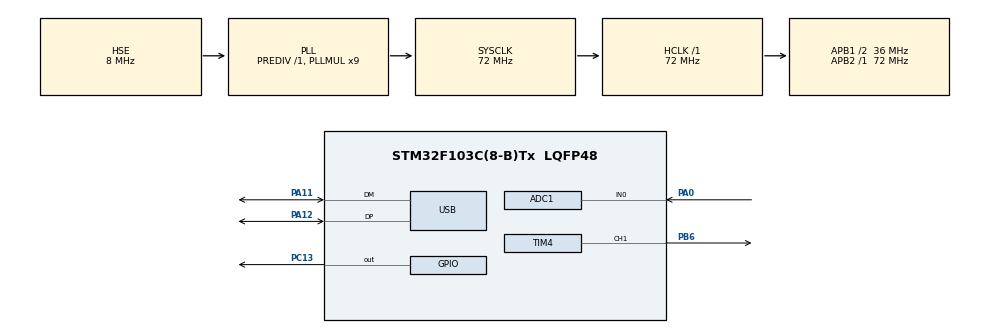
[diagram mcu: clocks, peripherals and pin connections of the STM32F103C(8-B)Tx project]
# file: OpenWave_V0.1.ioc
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ADC1.Channel-0\#ChannelRegularConversion=ADC_CHANNEL_0
ADC1.ContinuousConvMode=ENABLE
ADC1.NbrOfConversionFlag=1
ADC1.Rank-0\#ChannelRegularConversion=1
ADC1.SamplingTime-0\#ChannelRegularConversion=ADC_SAMPLETIME_1CYCLE_5
ADC1.master=1
Dma.ADC1.0.Direction=DMA_PERIPH_TO_MEMORY
Dma.ADC1.0.Instance=DMA1_Channel1
Dma.ADC1.0.MemDataAlignment=DMA_MDATAALIGN_HALFWORD
Dma.ADC1.0.MemInc=DMA_MINC_ENABLE
Dma.ADC1.0.Mode=DMA_NORMAL
Dma.ADC1.0.PeriphDataAlignment=DMA_PDATAALIGN_HALFWORD
Dma.ADC1.0.PeriphInc=DMA_PINC_DISABLE
Dma.ADC1.0.Priority=DMA_PRIORITY_VERY_HIGH
Dma.Request0=ADC1
Mcu.Family=STM32F1
Mcu.Name=STM32F103C(8-B)Tx
Mcu.Package=LQFP48
NVIC.DMA1_Channel1_IRQn=true\:0\:0\:false\:false\:true\:false\:true\:true
NVIC.PriorityGroup=NVIC_PRIORITYGROUP_4
NVIC.USB_LP_CAN1_RX0_IRQn=true\:1\:0\:true\:false\:true\:false\:true\:true
PA0-WKUP.Signal=ADCx_IN0
PA11.Mode=Device
PA11.Signal=USB_DM
PA12.Mode=Device
PA12.Signal=USB_DP
PA13.Mode=Serial_Wire
PA13.Signal=SYS_JTMS-SWDIO
PA14.Mode=Serial_Wire
PA14.Signal=SYS_JTCK-SWCLK
PB6.Signal=S_TIM4_CH1
PC13-TAMPER-RTC.PinState=GPIO_PIN_SET
PC13-TAMPER-RTC.Signal=GPIO_Output
PD0-OSC_IN.Mode=HSE-External-Oscillator
PD0-OSC_IN.Signal=RCC_OSC_IN
PD1-OSC_OUT.Mode=HSE-External-Oscillator
PD1-OSC_OUT.Signal=RCC_OSC_OUT
ProjectManager.HeapSize=0x200
ProjectManager.StackSize=0x400
ProjectManager.TargetToolchain=STM32CubeIDE
RCC.ADCPresc=RCC_ADCPCLK2_DIV6
RCC.AHBFreq_Value=72000000
RCC.APB1CLKDivider=RCC_HCLK_DIV2
RCC.APB1Freq_Value=36000000
RCC.APB1TimFreq_Value=72000000
RCC.APB2Freq_Value=72000000
RCC.APB2TimFreq_Value=72000000
RCC.HCLKFreq_Value=72000000
RCC.PLLMUL=RCC_PLL_MUL9
RCC.SYSCLKFreq_VALUE=72000000
RCC.SYSCLKSource=RCC_SYSCLKSOURCE_PLLCLK
RCC.USBFreq_Value=48000000
RCC.USBPrescaler=RCC_USBCLKSOURCE_PLL_DIV1_5
SH.ADCx_IN0.0=ADC1_IN0,IN0
SH.S_TIM4_CH1.0=TIM4_CH1,PWM Generation1 CH1
TIM4.Channel-PWM\ Generation1\ CH1=TIM_CHANNEL_1
TIM4.Period=256-1
TIM4.Prescaler=281-1
TIM4.Pulse-PWM\ Generation1\ CH1=128
USB_DEVICE.APP_RX_DATA_SIZE=64
USB_DEVICE.CLASS_NAME_FS=CDC
USB_DEVICE.MANUFACTURER_STRING=SpaceMonochrome
USB_DEVICE.PID_CDC_FS=1984
USB_DEVICE.PRODUCT_STRING_CDC_FS=OpenWaveV0.1
USB_DEVICE.VID=47891
USB_DEVICE.VirtualMode=Cdc
USB_DEVICE.VirtualModeFS=Cdc_FS
VP_TIM4_VS_ClockSourceINT.Mode=Internal
VP_USB_DEVICE_VS_USB_DEVICE_CDC_FS.Mode=CDC_FS
board=custom

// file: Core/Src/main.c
/* USER CODE BEGIN Header */
/**
  ******************************************************************************
  * @file           : main.c
  * @brief          : Main program body
  ******************************************************************************
  * @attention
  *
  * Copyright (c) 2025 STMicroelectronics.
  * All rights reserved.
  *
  * This software is licensed under terms that can be found in the LICENSE file
  * in the root directory of this software component.
  * If no LICENSE file comes with this software, it is provided AS-IS.
  *
  ******************************************************************************
  */
/* USER CODE END Header */
#include "main.h"
#include "usb_device.h"

/* USER CODE BEGIN Includes */
#include "usbd_cdc_if.h"
#include "stdint.h"
/* USER CODE END Includes */

ADC_HandleTypeDef hadc1;
DMA_HandleTypeDef hdma_adc1;

TIM_HandleTypeDef htim4;

void SystemClock_Config(void);
static void MX_GPIO_Init(void);
static void MX_DMA_Init(void);
static void MX_ADC1_Init(void);
static void MX_TIM4_Init(void);

/* USER CODE BEGIN 0 */

extern USBD_HandleTypeDef hUsbDeviceFS;

#define SAMPLE_BLOCK   1024        // toplam buffer boyutu (örnek sayısı değil!)
#define TOTAL_BLOCKS   5
#define CHUNK_SAMPLES  512         // her chunk 512 örnek (uint16_t)
#define CHUNK_BYTES    (CHUNK_SAMPLES * sizeof(uint16_t))  // = 1024 byte
#define NUM_CHUNKS    ((SAMPLE_BLOCK * TOTAL_BLOCKS) / CHUNK_SAMPLES) // 10

volatile uint8_t adc_flag = 0;
volatile uint8_t usb_write = 0;

__attribute__((section(".adc_buffer"))) __attribute__((used)) uint16_t adc_buffer[SAMPLE_BLOCK * TOTAL_BLOCKS];
__attribute__((section(".adc_buffer"))) __attribute__((used)) uint8_t buffer[CHUNK_BYTES];
__attribute__((section(".adc_buffer"))) __attribute__((used)) uint32_t start_time, elapsed_time;

void send_adc_data(void)
{
    if (hUsbDeviceFS.dev_state == USBD_STATE_CONFIGURED)
    {
        for (int chunk = 0; chunk < NUM_CHUNKS; chunk++)
        {
            /* 512 örnek = 1024 byte kopyala */
            //memcpy(buffer, &adc_buffer[chunk * CHUNK_SAMPLES], CHUNK_BYTES);
        	while (CDC_Transmit_FS((uint8_t*)&adc_buffer[chunk * CHUNK_SAMPLES], CHUNK_BYTES) == USBD_BUSY)
        	{

        	}

            /*
            //1024 byte gönder
            while (CDC_Transmit_FS(buffer, CHUNK_BYTES) == USBD_BUSY)
            {

            }
            */
        }
    }
}

void HAL_ADC_ConvCpltCallback(ADC_HandleTypeDef *hadc)
{
	adc_flag = 1;
}

void My_USB_RxHandler(uint8_t *data, uint32_t len)
{
    if(len > 0)
    {
    	if (strcmp((char*)data, "Start") == 0)
        {
    		usb_write = 1;
        }
    	else if (strcmp((char*)data, "Stop!") == 0)
        {
    		usb_write = 0;
        	CDC_Transmit_FS((uint8_t*)"Durdu", 6);
        }
    }
}

void DWT_Init(void)
{
    CoreDebug->DEMCR |= CoreDebug_DEMCR_TRCENA_Msk;
    DWT->CYCCNT = 0;
    DWT->CTRL |= DWT_CTRL_CYCCNTENA_Msk;
}

uint32_t DWT_GetMicros(void)
{
    return (DWT->CYCCNT / (SystemCoreClock / 1000000));
}

uint32_t DWT_GetDeltaMicros(uint32_t start_time)
{
    uint32_t current_time = DWT_GetMicros();
    if(current_time >= start_time)
    {
    	return (current_time - start_time);
    }
    else
    {
    	return (0xFFFFFFFF - start_time + current_time + 1);
    }
}

/* USER CODE END 0 */

int main(void)
{

  /* MCU Configuration--------------------------------------------------------*/

  /* Reset of all peripherals, Initializes the Flash interface and the Systick. */
  HAL_Init();

  /* Configure the system clock */
  SystemClock_Config();

  /* Initialize all configured peripherals */
  MX_GPIO_Init();
  MX_DMA_Init();
  MX_ADC1_Init();
  MX_USB_DEVICE_Init();
  MX_TIM4_Init();
  /* USER CODE BEGIN 2 */
  for (int i = 0; i < SAMPLE_BLOCK * TOTAL_BLOCKS; i++)
  {
      adc_buffer[i] = (uint16_t)(i + 1);
  }

  DWT_Init();
  start_time = DWT_GetMicros();
  HAL_ADC_Start_DMA(&hadc1, (uint32_t*)adc_buffer, SAMPLE_BLOCK * TOTAL_BLOCKS);
  HAL_TIM_PWM_Start(&htim4, TIM_CHANNEL_1);
  __HAL_TIM_SET_COMPARE(&htim4,TIM_CHANNEL_1, 128);
  /* USER CODE END 2 */

  /* Infinite loop */
  /* USER CODE BEGIN WHILE */
  while (1)
  {
	  if (adc_flag == 1)
	  {
		  adc_flag = 0;
		  elapsed_time = DWT_GetDeltaMicros(start_time);
		  if (usb_write == 1)
		  {
			  HAL_GPIO_WritePin(GPIOC, GPIO_PIN_13, 0);
			  send_adc_data();
			  HAL_Delay(40);
		  }
		  else
		  {
			  HAL_GPIO_WritePin(GPIOC, GPIO_PIN_13, 1);
		  }
		  start_time = DWT_GetMicros();
		  HAL_ADC_Start_DMA(&hadc1, (uint32_t*)adc_buffer, SAMPLE_BLOCK * TOTAL_BLOCKS);
	  }

    /* USER CODE END WHILE */

  }
}

void SystemClock_Config(void)
{
  RCC_OscInitTypeDef RCC_OscInitStruct = {0};
  RCC_ClkInitTypeDef RCC_ClkInitStruct = {0};
  RCC_PeriphCLKInitTypeDef PeriphClkInit = {0};

  /** Initializes the RCC Oscillators according to the specified parameters
  * in the RCC_OscInitTypeDef structure.
  */
  RCC_OscInitStruct.OscillatorType = RCC_OSCILLATORTYPE_HSE;
  RCC_OscInitStruct.HSEState = RCC_HSE_ON;
  RCC_OscInitStruct.HSEPredivValue = RCC_HSE_PREDIV_DIV1;
  RCC_OscInitStruct.HSIState = RCC_HSI_ON;
  RCC_OscInitStruct.PLL.PLLState = RCC_PLL_ON;
  RCC_OscInitStruct.PLL.PLLSource = RCC_PLLSOURCE_HSE;
  RCC_OscInitStruct.PLL.PLLMUL = RCC_PLL_MUL9;
  if (HAL_RCC_OscConfig(&RCC_OscInitStruct) != HAL_OK)
  {
    Error_Handler();
  }

  /** Initializes the CPU, AHB and APB buses clocks
  */
  RCC_ClkInitStruct.ClockType = RCC_CLOCKTYPE_HCLK|RCC_CLOCKTYPE_SYSCLK
                              |RCC_CLOCKTYPE_PCLK1|RCC_CLOCKTYPE_PCLK2;
  RCC_ClkInitStruct.SYSCLKSource = RCC_SYSCLKSOURCE_PLLCLK;
  RCC_ClkInitStruct.AHBCLKDivider = RCC_SYSCLK_DIV1;
  RCC_ClkInitStruct.APB1CLKDivider = RCC_HCLK_DIV2;
  RCC_ClkInitStruct.APB2CLKDivider = RCC_HCLK_DIV1;

  if (HAL_RCC_ClockConfig(&RCC_ClkInitStruct, FLASH_LATENCY_2) != HAL_OK)
  {
    Error_Handler();
  }
  PeriphClkInit.PeriphClockSelection = RCC_PERIPHCLK_ADC|RCC_PERIPHCLK_USB;
  PeriphClkInit.AdcClockSelection = RCC_ADCPCLK2_DIV6;
  PeriphClkInit.UsbClockSelection = RCC_USBCLKSOURCE_PLL_DIV1_5;
  if (HAL_RCCEx_PeriphCLKConfig(&PeriphClkInit) != HAL_OK)
  {
    Error_Handler();
  }
}

static void MX_ADC1_Init(void)
{

  ADC_ChannelConfTypeDef sConfig = {0};

  /** Common config
  */
  hadc1.Instance = ADC1;
  hadc1.Init.ScanConvMode = ADC_SCAN_DISABLE;
  hadc1.Init.ContinuousConvMode = ENABLE;
  hadc1.Init.DiscontinuousConvMode = DISABLE;
  hadc1.Init.ExternalTrigConv = ADC_SOFTWARE_START;
  hadc1.Init.DataAlign = ADC_DATAALIGN_RIGHT;
  hadc1.Init.NbrOfConversion = 1;
  if (HAL_ADC_Init(&hadc1) != HAL_OK)
  {
    Error_Handler();
  }

  /** Configure Regular Channel
  */
  sConfig.Channel = ADC_CHANNEL_0;
  sConfig.Rank = ADC_REGULAR_RANK_1;
  sConfig.SamplingTime = ADC_SAMPLETIME_1CYCLE_5;
  if (HAL_ADC_ConfigChannel(&hadc1, &sConfig) != HAL_OK)
  {
    Error_Handler();
  }

}

static void MX_TIM4_Init(void)
{

  TIM_ClockConfigTypeDef sClockSourceConfig = {0};
  TIM_MasterConfigTypeDef sMasterConfig = {0};
  TIM_OC_InitTypeDef sConfigOC = {0};

  htim4.Instance = TIM4;
  htim4.Init.Prescaler = 281-1;
  htim4.Init.CounterMode = TIM_COUNTERMODE_UP;
  htim4.Init.Period = 256-1;
  htim4.Init.ClockDivision = TIM_CLOCKDIVISION_DIV1;
  htim4.Init.AutoReloadPreload = TIM_AUTORELOAD_PRELOAD_DISABLE;
  if (HAL_TIM_Base_Init(&htim4) != HAL_OK)
  {
    Error_Handler();
  }
  sClockSourceConfig.ClockSource = TIM_CLOCKSOURCE_INTERNAL;
  if (HAL_TIM_ConfigClockSource(&htim4, &sClockSourceConfig) != HAL_OK)
  {
    Error_Handler();
  }
  if (HAL_TIM_PWM_Init(&htim4) != HAL_OK)
  {
    Error_Handler();
  }
  sMasterConfig.MasterOutputTrigger = TIM_TRGO_RESET;
  sMasterConfig.MasterSlaveMode = TIM_MASTERSLAVEMODE_DISABLE;
  if (HAL_TIMEx_MasterConfigSynchronization(&htim4, &sMasterConfig) != HAL_OK)
  {
    Error_Handler();
  }
  sConfigOC.OCMode = TIM_OCMODE_PWM1;
  sConfigOC.Pulse = 128;
  sConfigOC.OCPolarity = TIM_OCPOLARITY_HIGH;
  sConfigOC.OCFastMode = TIM_OCFAST_DISABLE;
  if (HAL_TIM_PWM_ConfigChannel(&htim4, &sConfigOC, TIM_CHANNEL_1) != HAL_OK)
  {
    Error_Handler();
  }
  HAL_TIM_MspPostInit(&htim4);

}

static void MX_DMA_Init(void)
{

  /* DMA controller clock enable */
  __HAL_RCC_DMA1_CLK_ENABLE();

  /* DMA interrupt init */
  /* DMA1_Channel1_IRQn interrupt configuration */
  HAL_NVIC_SetPriority(DMA1_Channel1_IRQn, 0, 0);
  HAL_NVIC_EnableIRQ(DMA1_Channel1_IRQn);

}

static void MX_GPIO_Init(void)
{
  GPIO_InitTypeDef GPIO_InitStruct = {0};

  /* GPIO Ports Clock Enable */
  __HAL_RCC_GPIOC_CLK_ENABLE();
  __HAL_RCC_GPIOD_CLK_ENABLE();
  __HAL_RCC_GPIOA_CLK_ENABLE();
  __HAL_RCC_GPIOB_CLK_ENABLE();

  /*Configure GPIO pin Output Level */
  HAL_GPIO_WritePin(GPIOC, GPIO_PIN_13, GPIO_PIN_SET);

  /*Configure GPIO pin : PC13 */
  GPIO_InitStruct.Pin = GPIO_PIN_13;
  GPIO_InitStruct.Mode = GPIO_MODE_OUTPUT_PP;
  GPIO_InitStruct.Pull = GPIO_NOPULL;
  GPIO_InitStruct.Speed = GPIO_SPEED_FREQ_LOW;
  HAL_GPIO_Init(GPIOC, &GPIO_InitStruct);

}

void Error_Handler(void)
{
  __disable_irq();
  while (1)
  {
  }
}
